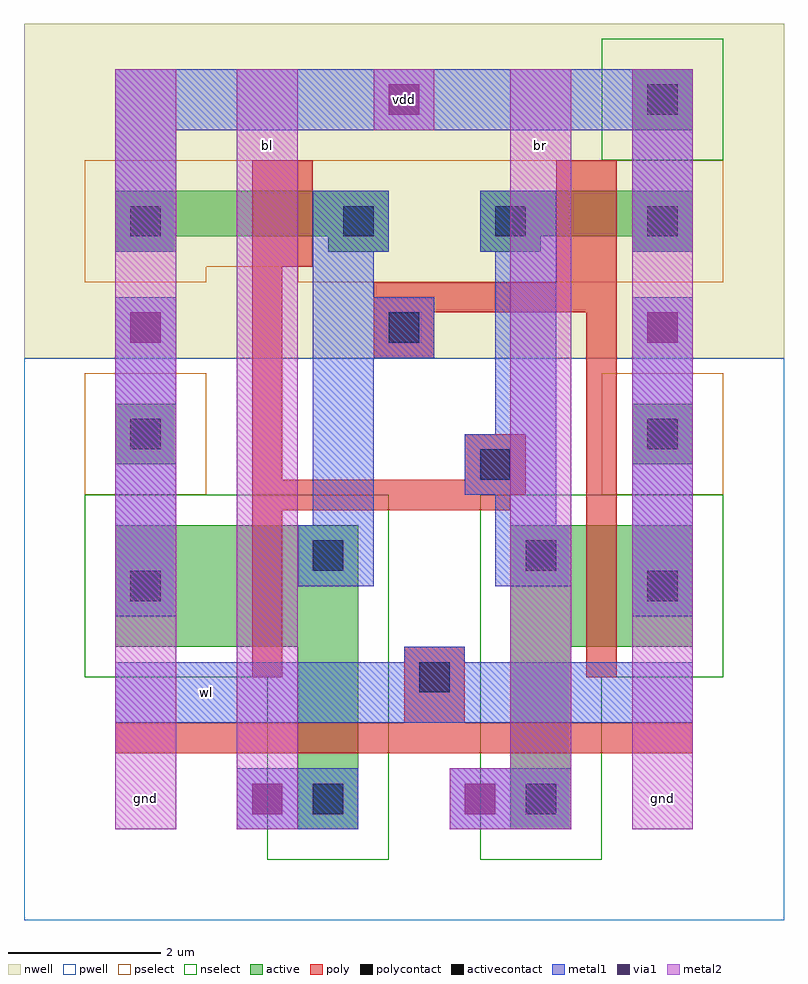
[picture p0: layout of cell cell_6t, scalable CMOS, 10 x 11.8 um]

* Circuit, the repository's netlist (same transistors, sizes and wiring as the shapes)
*********************** "cell_6t" ******************************
.SUBCKT cell_6t bl br wl vdd gnd
* SPICE3 file created from cell_6t.ext - technology: scmos

* Inverter 1
M1000 Q Q_bar vdd vdd p w=0.6u l=0.8u
M1002 Q Q_bar gnd gnd n w=1.6u l=0.4u

* Inverter 2
M1001 vdd Q Q_bar vdd p w=0.6u l=0.8u
M1003 gnd Q Q_bar gnd n w=1.6u l=0.4u

* Access transistors
M1004 Q wl bl gnd n w=0.8u l=0.4u
M1005 Q_bar wl br gnd n w=0.8u l=0.4u

.ENDS

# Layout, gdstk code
import gdstk
lib = gdstk.Library(unit=1e-6, precision=1e-09)
def R(c, l, rs):  # rectangles x0, y0, x1, y1
    for r in rs: c.add(gdstk.rectangle(r[:2], r[2:], *l))
def A(c, l, x, y, w, h, nx, ny, dx, dy):  # array of equal rectangles
    R(c, l, [(x+i*dx, y+j*dy, x+i*dx+w, y+j*dy+h) for i in range(nx) for j in range(ny)])
pwell = (41, 0)
nwell = (42, 0)
active = (43, 0)
pselect = (44, 0)
nselect = (45, 0)
poly = (46, 0)
polycontact = (47, 0)
activecontact = (48, 0)
metal1 = (49, 0)
via1 = (50, 0)
metal2 = (51, 0)

cell_6t = lib.new_cell('cell_6t')
R(cell_6t, pwell, [(-1.6,-1.6,8.4,5.8)])
R(cell_6t, nwell, [(-1.6,5.8,8.4,10.2)])
A(cell_6t, active, 2.4, 7.2, 0.8, 0.2, 3, 1, 2, 0)
R(cell_6t, active, [(2,-0.4,2.8,2), (4.8,-0.4,5.6,2), (-0.4,2,2.8,3.6), (4.8,2,7.2,3.6), (-0.4,4.4,0.4,5.2), (6.4,4.4,7.2,5.2), (-0.4,7.2,0.4,7.4), (-0.4,7.4,3.2,8), (4.4,7.4,7.2,8), (6.4,8.8,7.2,9.6)])
R(cell_6t, pselect, [(-0.8,4,0.8,5.6), (6,4,7.6,5.6), (-0.8,6.8,0.8,7), (2,6.8,7.6,7), (-0.8,7,7.6,8.4)])
R(cell_6t, nselect, [(1.6,-0.8,3.2,1.6), (4.4,-0.8,6,1.6), (-0.8,1.6,3.2,4), (4.4,1.6,7.6,4), (6,8.4,7.6,10)])
R(cell_6t, poly, [(-0.4,0.6,7.2,1), (3.4,1,4.2,2), (1.4,1.6,1.8,3.8), (5.8,1.6,6.2,6.4), (1.4,3.8,4.8,4), (1.4,4,5,4.2), (1.4,4.2,1.8,7), (4.2,4.2,5,4.8), (3,5.8,3.8,6.4), (3,6.4,6.2,6.8), (5.4,6.8,6.2,8.4), (1.4,7,2.2,8.4)])
R(cell_6t, polycontact, [(3.6,1.4,4,1.8), (4.4,4.2,4.8,4.6), (3.2,6,3.6,6.4)])
A(cell_6t, activecontact, 2.6, 7.4, 0.4, 0.4, 3, 1, 2, 0)
R(cell_6t, activecontact, [(2.2,-0.2,2.6,0.2), (5,-0.2,5.4,0.2), (-0.2,2.6,0.2,3), (6.6,2.6,7,3), (2.2,3,2.6,3.4), (5,3,5.4,3.4), (-0.2,4.6,0.2,5), (6.6,4.6,7,5), (-0.2,7.4,0.2,7.8), (6.6,9,7,9.4)])
R(cell_6t, metal1, [(1.2,-0.4,2.8,0.4), (4,-0.4,5.6,0.4), (-0.4,1,7.2,1.8), (3.4,1.8,4.2,2), (-0.4,2.4,0.4,6.6), (6.4,2.4,7.2,6.6), (2,2.8,3,3.6), (4.6,2.8,5.6,3.6), (2.2,3.6,3,5.8), (4.6,3.6,5.4,4), (4.2,4,5.4,4.8), (4.6,4.8,5.4,7.2), (2.2,5.8,3.8,6.6), (2.2,6.6,3,7.2), (-0.4,7.2,0.4,8.8), (2.2,7.2,3.2,8), (4.4,7.2,5.4,8), (6.4,7.2,7.2,8.8), (-0.4,8.8,7.2,9.6)])
R(cell_6t, via1, [(1.4,-0.2,1.8,0.2), (4.2,-0.2,4.6,0.2), (-0.2,6,0.2,6.4), (6.6,6,7,6.4), (3.2,9,3.6,9.4)])
R(cell_6t, metal2, [(-0.4,-0.4,0.4,9.6), (1.2,-0.4,2,9.6), (4,-0.4,5.6,0.4), (6.4,-0.4,7.2,9.6), (4.8,0.4,5.6,9.6), (3,8.8,3.8,9.6)])
cell_6t.add(gdstk.Label('gnd', (0,0), layer=51, texttype=0))
cell_6t.add(gdstk.Label('gnd', (6.8,0), layer=51, texttype=0))
cell_6t.add(gdstk.Label('vdd', (3.4,9.2), layer=51, texttype=0))
cell_6t.add(gdstk.Label('bl', (1.6,8.6), layer=51, texttype=0))
cell_6t.add(gdstk.Label('br', (5.2,8.6), layer=51, texttype=0))
cell_6t.add(gdstk.Label('wl', (0.8,1.4), layer=49, texttype=0))

lib.write_gds('cell_6t.gds')
